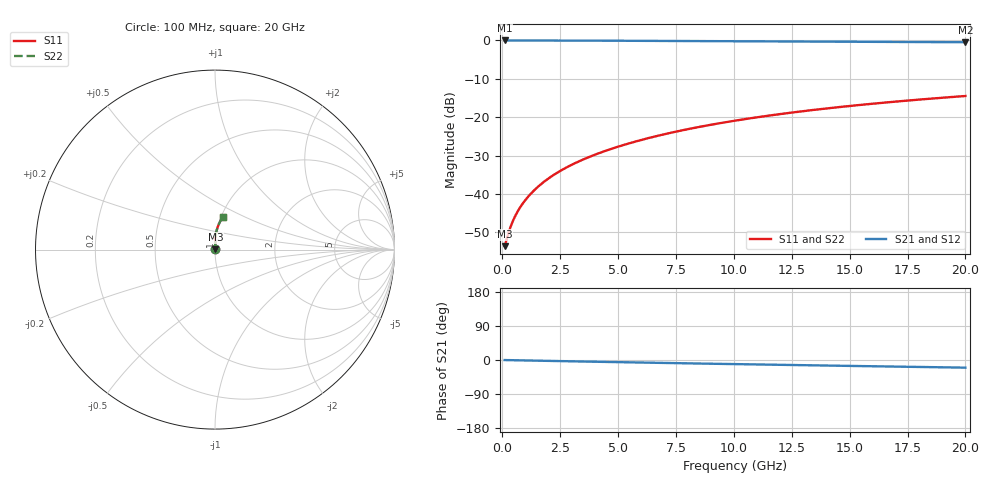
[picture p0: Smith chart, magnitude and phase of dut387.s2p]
! Touchstone file exported from HFSS 2024.1.0
!  File:  C:/UserFiles/LocalFiles/RDL_TSV_Batchsim/temp_RDL_bottom_387_1779614170.aedt
!  Generated:  05:19:09 PM May 24, 2026
!  Design:  RDL_bottom
!  Project:  temp_RDL_bottom_387_1779614170
!  Setup:  Setup1
!  Solution:  Sweep
! Variables:
!  dtsv = 10.80580581um
!  hbump = 3um
!  htsv = 61.69um
!  ldown = 287.85um
!  lrdl = 100um
!  p = 40
!  p1 = 41.14um
!  rhole = 1um
!  t = 450um
!  tdown = 2.79um
!  trdl = 3.915915916um
!  wdown = 22.88um
!  wrdl = 20um
# GHz S MA R 50.000000
! Terminal data exported
! Port[1] = RDL1_T1
! Port[2] = RDL1_T2
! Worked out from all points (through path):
!   200 points, 100 MHz to 20 GHz, reference 50 ohm
!   highest |S21| = -0.02 dB at 100 MHz (marker M1); lowest = -0.5 dB at 20 GHz (marker M2)
!   group delay of S21, straight-line fit = 2.77 ps
!   lowest |S11| = -53.6 dB at 100 MHz (marker M3), VSWR 1.00, Z = 50.2 + j0.0916 ohm
!   |S11| at or under -10 dB: start of sweep to end of sweep
!   |S22| runs from -53.6 to -14.5 dB; largest |S21 - S12| = 3.5e-15
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0.1  0.002093 25.8  0.9981 -0.1  0.9981 -0.1  0.002093 25.8
! Gamma 0 0 0 0
! Port Impedance 50 0 50 0
0.3  0.003332 52.3  0.9979 -0.4  0.9979 -0.4  0.003332 52.3
0.4  0.004042 58.3  0.9978 -0.5  0.9978 -0.5  0.004042 58.3
0.5  0.004756 62.6  0.9977 -0.6  0.9977 -0.6  0.004756 62.6
0.6  0.00547 65.8  0.9976 -0.7  0.9976 -0.7  0.00547 65.8
0.8  0.006908 70.6  0.9974 -1.0  0.9974 -1.0  0.006908 70.6
1  0.008366 74.0  0.9972 -1.2  0.9972 -1.2  0.008366 74.0
1.2  0.009848 76.5  0.997 -1.4  0.997 -1.4  0.009848 76.5
1.7  0.01364 80.7  0.9965 -2.0  0.9965 -2.0  0.01364 80.7
2.2  0.01756 83.3  0.9958 -2.6  0.9958 -2.6  0.01756 83.3
2.8  0.02239 85.4  0.9948 -3.3  0.9948 -3.3  0.02239 85.4
3.5  0.02821 86.9  0.9934 -4.0  0.9934 -4.0  0.02821 86.9
4.2  0.03422 87.9  0.9918 -4.8  0.9918 -4.8  0.03422 87.9
5  0.04133 88.5  0.9897 -5.7  0.9897 -5.7  0.04133 88.5
5.9  0.04959 88.7  0.9872 -6.7  0.9872 -6.7  0.04959 88.7
6.8  0.05809 88.7  0.9846 -7.6  0.9846 -7.6  0.0581 88.7
8.4  0.07368 87.9  0.9798 -9.2  0.9798 -9.2  0.07369 88.0
10.1  0.09064 86.7  0.9747 -10.9  0.9747 -10.9  0.09066 86.7
11.7  0.1068 85.2  0.9699 -12.5  0.9699 -12.5  0.1068 85.2
13.4  0.1239 83.5  0.9649 -14.1  0.9649 -14.1  0.1239 83.5
16.7  0.1568 79.9  0.9554 -17.2  0.9554 -17.2  0.1568 80.0
20  0.1888 76.4  0.946 -20.2  0.946 -20.2  0.1888 76.4
